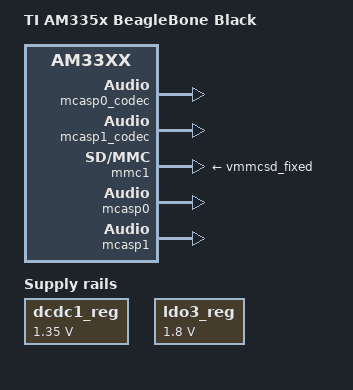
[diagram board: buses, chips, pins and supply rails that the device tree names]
/*
 * Copyright (C) 2012 Texas Instruments Incorporated - http://www.ti.com/
 *
 * This program is free software; you can redistribute it and/or modify
 * it under the terms of the GNU General Public License version 2 as
 * published by the Free Software Foundation.
 */
/dts-v1/;

#include "am33xx.dtsi"
#include "am335x-bone-common.dtsi"
#include "am335x-bone-common-pinmux.dtsi"

/ {
	model = "TI AM335x BeagleBone Black";
	compatible = "ti,am335x-bone-black", "ti,am335x-bone", "ti,am33xx";
};

&dcdc1_reg {
	/* VDD_DDR3 voltage 1.35V */
	regulator-name = "vdd_ddr3";
	regulator-min-microvolt = <1350000>;
	regulator-max-microvolt = <1350000>;
	regulator-boot-on;
	regulator-always-on;
};

&ldo3_reg {
	regulator-min-microvolt = <1800000>;
	regulator-max-microvolt = <1800000>;
	regulator-always-on;
};

&ocp {
	/* clkout2 */
	/*P9_41_pinmux {
		status = "disabled";
	};*/
	/* mmc1 */
	P9_92_pinmux {
		status = "disabled";
	};
};

&mmc1 {
	vmmc-supply = <&vmmcsd_fixed>;
};

&am33xx_pinmux {
	pinctrl-names = "default";

    mcasp0_pins_incas3: pinmux_mcasp0_pins {
		pinctrl-single,pins = <
            /* mcasp0 input */
            0x0d0 0x2b /* aclkr p8_35, MUX_MODE3 | PIN_INPUT_PULLDOWN */
            0x0d4 0x2b /* fsr   p8_33, MUX_MODE3 | PIN_INPUT_PULLDOWN */
            0x0c8 0x2b /* axr0  p8_36, MUX_MODE3 | PIN_INPUT_PULLDOWN */
            0x0cc 0x2c /* axr2  p8_34, MUX_MODE4 | PIN_INPUT_PULLDOWN */
            0x0dc 0x2c /* axr3  p8_32, MUX_MODE4 | PIN_INPUT_PULLDOWN */
            0x0ec 0x27 /* gpio2_25  p8_30, MUX_MODE7 | PIN_INPUT */

            /* mcasp0 output */
            0x0c0 0x2b /* aclkx p8_37, MUX_MODE3 | PIN_INPUT_PULLDOWN */
            0x0c4 0x2b /* fsx   p8_38, MUX_MODE3 | PIN_INPUT_PULLDOWN */
            0x0d8 0x0b /* axr1  p8_31, MUX_MODE3 | PIN_OUTPUT_PULLDOWN */
        >;
    };

    mcasp1_pins_incas3: pinmux_mcasp1_pins {
		pinctrl-single,pins = <
            /* mcasp1 output */
            0x1b4 0x27 /* axr0_a  p9_41a, MUX_MODE7 | PIN_INPUT */
            0x164 0x27 /* aclkx_a p9_42a, MUX_MODE7 | PIN_INPUT */

            0x1a8 0x0b /* axr0_b  p9_41b, MUX_MODE3 | PIN_OUTPUT_PULLDOWN */
            0x1a0 0x2b /* aclkx_b p9_42b, MUX_MODE3 | PIN_INPUT_PULLDOWN */
            0x1a4 0x2b /* fsx     p9_27, MUX_MODE3  | PIN_INPUT_PULLDOWN */
        >;
    };

    mcasp0_adc_pins: pinmux_adc_pins {
		pinctrl-single,pins = <
            0x070 0x0f /* p9_11, MUX_MODE7 | PIN_OUTPUT adc_pcm_en */
            0x074 0x0f /* p9_13, MUX_MODE7 | PIN_OUTPUT adc_mbo_en */
            0x040 0x0f /* p9_15, MUX_MODE7 | PIN_OUTPUT adc_dsd_en */
            0x044 0x0f /* p9_23, MUX_MODE7 | PIN_OUTPUT adc_pcm_ms */
            0x1ac 0x0f /* p9_25, MUX_MODE7 | PIN_OUTPUT adc_mdiv */
            0x180 0x0f /* p9_27, MUX_MODE7 | PIN_OUTPUT adc_hpfb */
            0x048 0x0f /* p9_14, MUX_MODE7 | PIN_OUTPUT adc_mode0 */
            0x04c 0x0f /* p9_16, MUX_MODE7 | PIN_OUTPUT adc_mode1 */
            0x184 0x0f /* p9_24, MUX_MODE7 | PIN_OUTPUT adc_rst */
            0x028 0x0f /* p8_14, MUX_MODE7 | PIN_OUTPUT bb_detect */
        >;
    };
};

&mcasp0 {
    pinctrl-names = "default";
    pinctrl-0 = <&mcasp0_pins_incas3>;

    status = "okay";

    op-mode = <0>; /*  MCASP_IIS_MODE */
    num-serializer = <4>;
    serial-dir = < 2 1 2 2>; /* 0: INACTIVE, 1: TX, 2: RX */
    tdm-slots = <2>;

    tx-num-evt = <32>;
    rx-num-evt = <32>;
};

&mcasp1 {
    pinctrl-names = "default";
    pinctrl-0 = <&mcasp1_pins_incas3>;

    status = "okay";

    op-mode = <0>; /*  MCASP_IIS_MODE */
    num-serializer = <2>;
    serial-dir = < 1 1 >; /* 0: INACTIVE, 1: TX, 2: RX */
    tdm-slots = <2>;

    tx-num-evt = <32>;
    rx-num-evt = <32>;
};

/ {
    ocp {
        mcasp0_codec: adc@0 { 
            compatible = "adm_mod-codec";
            status = "okay";
            pinctrl-names = "default";
            pinctrl-0 = <&mcasp0_adc_pins>;

            gpio_master = <1>;

            /* 32 * <bank> + <gpio> */
            adc_pcm_en = <30>; /* pin a11: gpio0[30] */
            adc_mbo_en = <31>; /* pin a13: gpio0[31] */ 
            adc_dsd_en = <48>; /* pin a15: gpio1[16] */ 
            adc_pcm_ms = <49>; /* pin a23: gpio1[17] */
            adc_mdiv = <117>; /* pin a25: gpio3[21] */
            adc_hpfb = <115>; /* pin a27: gpio3[19] */
            adc_mode0 = <51>; /* pin a14: gpio1[19] */
            adc_mode1 = <50>; /* pin a16: gpio1[18] */
            adc_rst = <15>; /* pin a24: gpio0[15] */
            bb_detect = <26>; /* pin b14: gpio0[26] */
        };

        sound_incas3_mcasp0 {
            compatible = "ti,beaglebone-black-audio-incas3";
            ti,model = "INCAS3 ADM mcasp0";
            ti,audio-codec = <&mcasp0_codec>;
            ti,mcasp-controller = <&mcasp0>;
            ti,codec-clock-rate = <24000000>;
        };

        mcasp1_codec: adc@1 { 
            compatible = "adm_mod-codec";
            status = "okay";

            gpio_master = <0>;
            adc_pcm_en = <0>; /* ignore */
            adc_mbo_en = <0>; /* ignore */ 
            adc_dsd_en = <0>; /* ignore */ 
            adc_pcm_ms = <0>; /* ignore */
            adc_mdiv = <0>; /* ignore */
            adc_hpfb = <0>; /* ignore */
            adc_mode0 = <0>; /* ignore */
            adc_mode1 = <0>; /* ignore */
            adc_rst = <0>; /* ignore */
            bb_detect = <0>; /* ignore */
        };

        sound_incas3_mcasp1 {
            compatible = "ti,beaglebone-black-audio-incas3";
            ti,model = "INCAS3 ADM mcasp1";
            ti,audio-codec = <&mcasp1_codec>;
            ti,mcasp-controller = <&mcasp1>;
            ti,codec-clock-rate = <24000000>;
        };
    };
};

#include "am335x-boneblack-emmc.dtsi"
/* HDMI: with audio */
/* #include "am335x-boneblack-nxp-hdmi-audio.dtsi" */
/* HDMI: without audio */
/* #include "am335x-boneblack-nxp-hdmi-no-audio.dtsi" */

/* can1: P9_24, P9_26 */
/* #include "am335x-can1.dtsi" */
/* #include "am335x-bone-can1.dtsi" */

/* spi0: */
/* P9.17 spi0_cs0 */
/* P9.18 spi0_d1 */
/* P9.21 spi0_d0 */
/* P9.22 spi0_sclk */
/* #include "am335x-bone-spi0-spidev.dtsi" */

/* spi1: */
/* P9.31 spi1_sclk */
/* P9.29 spi1_d0 */
/* P9.30 spi1_d1 */
/* P9.28 spi1_cs0 */
/* #include "am335x-bone-spi1-spidev.dtsi" */

/* spi1a: */
/* P9.42 spi1_sclk */
/* P9.29 spi1_d0 */
/* P9.30 spi1_d1 */
/* P9.20 spi1_cs0 */
/* #include "am335x-bone-spi1a-spidev.dtsi" */

/* uart1: P9.24, P9.26 */
#include "am335x-ttyO1.dtsi"
/* #include "am335x-bone-ttyO1.dtsi" */
/* uart2: P9.21, P9.22 */
#include "am335x-ttyO2.dtsi"
/* #include "am335x-bone-ttyO2.dtsi" */
/* uart4: P9.11, P9.13 */
#include "am335x-ttyO4.dtsi"
/* #include "am335x-bone-ttyO4.dtsi" */
/* uart5: P8.37, P8.38 boneblack: hdmi has to be disabled for ttyO5 */
/* #include "am335x-ttyO5.dtsi" */
/* #include "am335x-bone-ttyO5.dtsi" */

/* Capes */
/* http://elinux.org/4D_4.3_LCD_CAPE */
/* 4DCAPE-43 (Non Touch version): */
/* #include "am335x-bone-4dcape-43.dtsi" */
/* 4DCAPE-43T (Resistive Touch version): */
/* #include "am335x-bone-4dcape-43t.dtsi" */

/* http://www.4dsystems.com.au/product/4DCAPE_70T/ */
/* 4DCAPE-70 (Non Touch version): */
/* #include "am335x-bone-4dcape-70.dtsi" */
/* 4DCAPE-70T (Resistive Touch version): */
/* #include "am335x-bone-4dcape-70t.dtsi" */

/* http://elinux.org/CircuitCo:Audio_Cape_RevA */
/* #include "am335x-bone-audio-reva.dtsi" */

/* http://elinux.org/CircuitCo:Audio_Cape_RevB */
/* Pins: P9.24, P9.28, P9.29, P9.31, P9.30 */
/* #include "am335x-bone-audio-revb.dtsi" */

/* http://elinux.org/CircuitCo:BeagleBone_LCD3 */
/* #include "am335x-bone-lcd3-01-00a2.dtsi" */

/* http://elinux.org/CircuitCo:BeagleBone_LCD4 */
/* #include "am335x-bone-lcd4-01-00a1.dtsi" */

/* http://elinux.org/CircuitCo:BeagleBone_LCD7 */
/* am335x-boneblack: emmc has to be disabled for lcd7-01-00a2 */
/* #include "am335x-bone-lcd7-01-00a2.dtsi" */
/* #include "am335x-bone-lcd7-01-00a3.dtsi" */

/* http://www.chipsee.com/product/evm/beagle/beaglebone-black-expansion-capacitive.html */
/* #include "am335x-bone-bbb-exp-c.dtsi" */

/* http://elinux.org/CircuitCo:RTC_Cape */
/* i2c1: P9.17, P9.18 */
/* gpio: P8.26 (mfp: wakeup) */
/* #include "am335x-bone-rtc-01-00a1.dtsi" */

/* http://elinux.org/Cryptotronix:CryptoCape */
/* uart4: P9.11, P9.13 */
/* gpio: gpio1 13 gpio1 17 (gpio NOT IMPLEMENTED YET) */
/* #include "am335x-bone-crypto-00a0.dtsi" */

/* http://elinux.org/CircuitCo:Basic_Proto_Cape */
/* #include "am335x-bone-basic-proto-cape.dtsi" */
